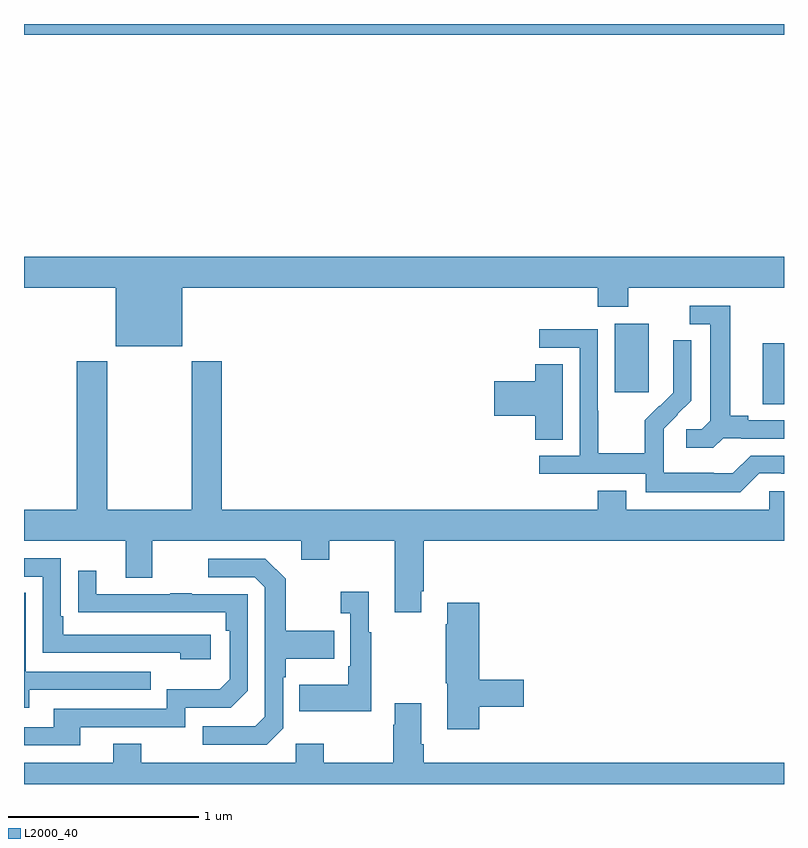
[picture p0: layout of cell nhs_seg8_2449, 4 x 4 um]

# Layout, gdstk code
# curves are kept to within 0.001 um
import gdstk
lib = gdstk.Library(unit=1e-6, precision=1e-09)
def R(c, l, rs):  # rectangles x0, y0, x1, y1
    for r in rs: c.add(gdstk.rectangle(r[:2], r[2:], *l))
def P(c, l, *ps):  # polygons
    for p in ps: c.add(gdstk.Polygon(p, *l))
L2000_40 = (2000, 40)

nhs_seg8_2449 = lib.new_cell('nhs_seg8_2449')
R(nhs_seg8_2449, L2000_40, [(268.889,1103.899,269,1104.219), (268.109,1103.961,268.288,1104.322), (265,1105.844,269,1105.9)])
P(nhs_seg8_2449, L2000_40, [(265.834,1104.512),(268.019,1104.512),(268.019,1104.413),(268.179,1104.413),(268.179,1104.512),(269,1104.512),(269,1104.676),(265,1104.676),(265,1104.512),(265.484,1104.512),(265.484,1104.203),(265.834,1104.203)],
  [(268.68,1103.721),(268.774,1103.721),(268.774,1103.718),(269,1103.718),(269,1103.814),(268.813,1103.814),(268.813,1103.837),(268.717,1103.837),(268.717,1104.417),(268.503,1104.417),(268.503,1104.321),(268.613,1104.321),(268.613,1103.813),(268.566,1103.766),(268.485,1103.766),(268.485,1103.669),(268.628,1103.669)],
  [(268.869,1103.535),(268.985,1103.535),(268.985,1103.532),(269,1103.532),(269,1103.628),(268.824,1103.628),(268.731,1103.535),(268.631,1103.535),(268.631,1103.539),(268.368,1103.539),(268.368,1103.673),(268.366,1103.673),(268.366,1103.77),(268.512,1103.918),(268.512,1104.236),(268.416,1104.236),(268.416,1104.082),(268.418,1104.082),(268.418,1103.96),(268.347,1103.889),(268.344,1103.892),(268.267,1103.815),(268.267,1103.641),(268.023,1103.641),(268.023,1103.864),(268.02,1103.864),(268.02,1104.294),(267.711,1104.294),(267.711,1104.195),(267.924,1104.195),(267.924,1103.628),(267.711,1103.628),(267.711,1103.532),(268.272,1103.532),(268.272,1103.435),(268.769,1103.435)],
  [(267.091,1102.915),(267.104,1102.915),(267.104,1103.18),(269,1103.18),(269,1103.442),(268.923,1103.442),(268.923,1103.344),(268.171,1103.344),(268.171,1103.443),(268.019,1103.443),(268.019,1103.344),(266.042,1103.344),(266.042,1104.124),(265.882,1104.124),(265.882,1103.344),(265.437,1103.344),(265.437,1104.124),(265.277,1104.124),(265.277,1103.344),(265,1103.344),(265,1103.18),(265.535,1103.18),(265.535,1102.986),(265.675,1102.986),(265.675,1103.18),(266.459,1103.18),(266.459,1103.081),(266.607,1103.081),(266.607,1103.18),(266.951,1103.18),(266.951,1102.803),(267.091,1102.803)],
  [(267.835,1104.11),(267.692,1104.11),(267.692,1104.02),(267.474,1104.02),(267.474,1103.837),(267.692,1103.837),(267.692,1103.713),(267.835,1103.713)],
  [(265.984,1102.686),(265.207,1102.686),(265.207,1102.783),(265.194,1102.783),(265.194,1103.088),(265,1103.088),(265,1102.992),(265.098,1102.992),(265.098,1102.59),(265.823,1102.59),(265.823,1102.556),(265.984,1102.556)],
  [(266.364,1102.194),(266.364,1102.463),(266.377,1102.463),(266.377,1102.559),(266.633,1102.559),(266.633,1102.707),(266.377,1102.707),(266.377,1102.979),(266.271,1103.085),(265.971,1103.085),(265.971,1102.989),(266.214,1102.989),(266.268,1102.935),(266.268,1102.254),(266.217,1102.203),(265.941,1102.203),(265.941,1102.107),(266.277,1102.107)],
  [(265.297,1102.2),(265.848,1102.2),(265.848,1102.302),(266.088,1102.302),(266.178,1102.392),(266.178,1102.899),(265.883,1102.899),(265.883,1102.904),(265.771,1102.904),(265.771,1102.899),(265.381,1102.899),(265.381,1103.023),(265.285,1103.023),(265.285,1102.804),(266.062,1102.803),(266.062,1102.706),(266.082,1102.706),(266.082,1102.452),(266.029,1102.399),(265.752,1102.399),(265.752,1102.296),(265.157,1102.296),(265.157,1102.2),(265,1102.2),(265,1102.104),(265.297,1102.104)],
  [(266.827,1102.699),(266.815,1102.699),(266.815,1102.912),(266.667,1102.912),(266.667,1102.799),(266.718,1102.799),(266.718,1102.519),(266.706,1102.519),(266.706,1102.423),(266.449,1102.423),(266.449,1102.283),(266.827,1102.283)],
  [(265.027,1102.395),(265.667,1102.395),(265.667,1102.491),(265.008,1102.491),(265.008,1102.907),(265,1102.907),(265,1102.301),(265.027,1102.301)],
  [(267.395,1102.306),(267.631,1102.306),(267.631,1102.448),(267.395,1102.448),(267.395,1102.855),(267.227,1102.855),(267.227,1102.742),(267.22,1102.742),(267.22,1102.431),(267.227,1102.431),(267.227,1102.188),(267.395,1102.188)],
  [(269,1102.012),(267.104,1102.012),(267.104,1102.108),(267.091,1102.108),(267.091,1102.324),(266.951,1102.324),(266.951,1102.211),(266.944,1102.211),(266.944,1102.012),(266.577,1102.012),(266.577,1102.111),(266.43,1102.111),(266.43,1102.012),(265.617,1102.012),(265.617,1102.111),(265.469,1102.111),(265.469,1102.012),(265,1102.012),(265,1101.9),(269,1101.9)])

lib.write_gds('nhs_seg8_2449.gds')
